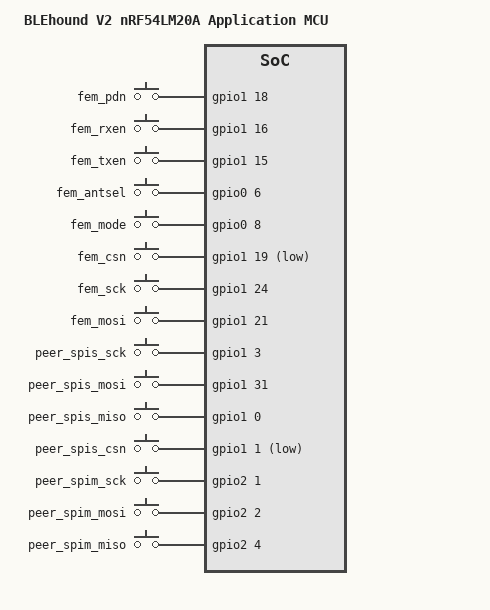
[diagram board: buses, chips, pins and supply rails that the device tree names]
/*
 * BLEhound board definition, derived from the Zephyr nRF54LM20 DK board
 * (boards/nordic/nrf54lm20dk, Copyright (c) 2025 Nordic Semiconductor ASA).
 *
 * SPDX-License-Identifier: Apache-2.0
 */

/dts-v1/;

#include <nordic/nrf54lm20a_cpuapp.dtsi>
#include "../common/blehound_nrf54lm20a_cpuapp_common.dtsi"
#include "pinctrl.dtsi"

/ {
	compatible = "blehound,blehound-v2-nrf54lm20a-cpuapp";
	model = "BLEhound V2 nRF54LM20A Application MCU";

	chosen {
		zephyr,code-partition = &slot0_partition;
		zephyr,sram = &cpuapp_sram;
	};

	/*
	 * nRF21540 FEM control port (one per chip, pure GPIO, no SPI; for the rules see src/fem_ctrl.h).
	 * V2 (revised board, plan B 2026-09-20): the four FEM SPI pins moved to the P1 port (datasheet same-port rule + NCS
	 * requiring the PERI-domain spi2x with cs on P1): CSN=P1.19 SCK=P1.24 MOSI=P1.21 (MISO=P1.20, never touched in
	 * pure-GPIO mode); MODE/ANTSEL moved to P0.08/P0.06, P0.07 freed. PDN=P1.18 RX_EN=P1.16 TX_EN=P1.15 unchanged.
	 * SCK/MOSI are only parked (input pull-down) by fem_ctrl.
	 */
	tri_fem {
		compatible = "gpio-keys";
		fem_pdn: fem_pdn {
			gpios = <&gpio1 18 GPIO_ACTIVE_HIGH>;
			zephyr,code = <8>;
		};
		fem_rxen: fem_rxen {
			gpios = <&gpio1 16 GPIO_ACTIVE_HIGH>;
			zephyr,code = <9>;
		};
		fem_txen: fem_txen {
			gpios = <&gpio1 15 GPIO_ACTIVE_HIGH>;
			zephyr,code = <10>;
		};
		fem_antsel: fem_antsel {
			gpios = <&gpio0 6 GPIO_ACTIVE_HIGH>;
			zephyr,code = <11>;
		};
		fem_mode: fem_mode {
			gpios = <&gpio0 8 GPIO_ACTIVE_HIGH>;
			zephyr,code = <12>;
		};
		/* Chip select is active low: fem_ctrl configures OUTPUT_INACTIVE = physical high = never selected. */
		fem_csn: fem_csn {
			gpios = <&gpio1 19 GPIO_ACTIVE_LOW>;
			zephyr,code = <13>;
		};
		fem_sck: fem_sck {
			gpios = <&gpio1 24 GPIO_ACTIVE_HIGH>;
			zephyr,code = <14>;
		};
		fem_mosi: fem_mosi {
			gpios = <&gpio1 21 GPIO_ACTIVE_HIGH>;
			zephyr,code = <15>;
		};
	};

	/*
	 * Inter-chip upstream slave port (SPIS, PERI domain instance spi21; for the link topology see src/peer_link.h).
	 * peer_link drives it through nrfx_spis directly (the pins are taken from these gpio-keys entries and handed to
	 * nrfx, the spi21 node itself stays disabled so Zephyr's SPIS driver does not claim it).
	 * V2 (revised board): SCK moved to the clock pin P1.03; MOSI=P1.31 MISO=P1.00 CSN=P1.01 unchanged.
	 */
	tri_peer_spis {
		compatible = "gpio-keys";
		peer_spis_sck: peer_spis_sck {
			gpios = <&gpio1 3 GPIO_ACTIVE_HIGH>;
			zephyr,code = <16>;
		};
		peer_spis_mosi: peer_spis_mosi {
			gpios = <&gpio1 31 GPIO_ACTIVE_HIGH>;
			zephyr,code = <17>;
		};
		peer_spis_miso: peer_spis_miso {
			gpios = <&gpio1 0 GPIO_ACTIVE_HIGH>;
			zephyr,code = <18>;
		};
		peer_spis_csn: peer_spis_csn {
			gpios = <&gpio1 1 GPIO_ACTIVE_LOW>;
			zephyr,code = <19>;
		};
	};

	/*
	 * Inter-chip downstream master port pins (software SPI master in peer_link; see the common dtsi for why).
	 * V2 (revised board): SCK=P2.01 MOSI=P2.02 MISO=P2.04 (bit-banged for now; P2.01 is the SPIM00 clock pin, hardware SPIM00 possible later).
	 */
	tri_peer_spim {
		compatible = "gpio-keys";
		peer_spim_sck: peer_spim_sck {
			gpios = <&gpio2 1 GPIO_ACTIVE_HIGH>;
			zephyr,code = <20>;
		};
		peer_spim_mosi: peer_spim_mosi {
			gpios = <&gpio2 2 GPIO_ACTIVE_HIGH>;
			zephyr,code = <21>;
		};
		peer_spim_miso: peer_spim_miso {
			gpios = <&gpio2 4 GPIO_ACTIVE_HIGH>;
			zephyr,code = <22>;
		};
	};

	aliases {
		tri-spis-sck = &peer_spis_sck;
		tri-spis-mosi = &peer_spis_mosi;
		tri-spis-miso = &peer_spis_miso;
		tri-spis-csn = &peer_spis_csn;
		tri-spim-sck = &peer_spim_sck;
		tri-spim-mosi = &peer_spim_mosi;
		tri-spim-miso = &peer_spim_miso;
	};
};

/* Upstream slave port instance: SPIS binding so nrfx's SPIS driver is selectable, kept disabled on purpose. */
&spi21 {
	compatible = "nordic,nrf-spis";
	/delete-property/ rx-delay-supported;
	/delete-property/ rx-delay;
	def-char = <0>;
	status = "disabled";
};

/* Default memory partition table, then the DFU layout on top of it (MCUboot + firmware loader + app). */
#include <vendor/nordic/nrf54lm20a_cpuapp_partition.dtsi>
#include "../common/blehound_partitions.dtsi"
